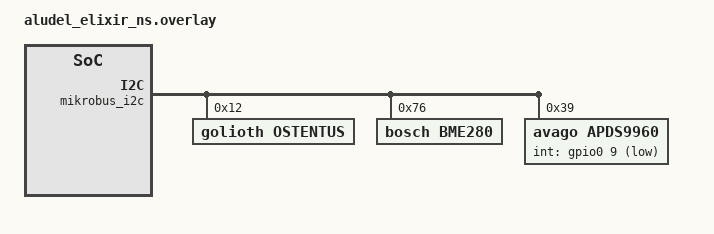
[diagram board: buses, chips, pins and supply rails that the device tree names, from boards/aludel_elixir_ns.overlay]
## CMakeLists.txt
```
# Copyright (c) 2022-2023 Golioth, Inc.
# SPDX-License-Identifier: Apache-2.0

cmake_minimum_required(VERSION 3.20.0)

find_package(Zephyr REQUIRED HINTS $ENV{ZEPHYR_BASE})

project(greenhouse)

target_sources(app PRIVATE src/main.c)
target_sources(app PRIVATE src/app_rpc.c)
target_sources(app PRIVATE src/app_settings.c)
target_sources(app PRIVATE src/app_state.c)
target_sources(app PRIVATE src/app_sensors.c)
```

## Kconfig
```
# Copyright (c) 2022-2024 Golioth, Inc.
# SPDX-License-Identifier: Apache-2.0

mainmenu "Golioth application options"

if DNS_RESOLVER

config DNS_SERVER_IP_ADDRESSES
	default y

config DNS_SERVER1
	default "1.1.1.1"

endif # DNS_RESOLVER

source "Kconfig.zephyr"
```

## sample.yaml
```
# Copyright (c) 2022-2023 Golioth, Inc.
# SPDX-License-Identifier: Apache-2.0

sample:
  description: Golioth Greenhouse Reference Design
  name: greenhouse
common:
  harness: net
  platform_allow: >
    nrf9160dk_nrf9160_ns
  tags: golioth
```

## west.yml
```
# Copyright (c) 2022-2024 Golioth, Inc.
# SPDX-License-Identifier: Apache-2.0

manifest:
  version: 0.8

  projects:
    - name: golioth
      path: modules/lib/golioth
      revision: v0.8.0
      url: https://github.com/golioth/golioth-zephyr-sdk
      west-commands: scripts/west-commands.yml
      import:
        file: west-ncs.yml
        path-prefix: deps
        name-allowlist:
          - nrf
          - zephyr
          - cmsis
          - hal_nordic
          - mbedtls
          - mbedtls-nrf
          - mcuboot
          - net-tools
          - nrfxlib
          - qcbor
          - segger
          - tfm-mcuboot
          - tinycrypt
          - trusted-firmware-m
          - zcbor

    - name: golioth-zephyr-boards
      path: deps/modules/lib/golioth-boards
      revision: v1.0.1
      url: https://github.com/golioth/golioth-zephyr-boards

    - name: zephyr-network-info
      path: deps/modules/lib/network-info
      revision: v1.0.1
      url: https://github.com/golioth/zephyr-network-info

  self:
    path: app
```

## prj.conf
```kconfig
# Copyright (c) 2022-2024 Golioth, Inc.
# SPDX-License-Identifier: Apache-2.0

# Enable Golioth Firmware SDK
CONFIG_GOLIOTH_FIRMWARE_SDK=y

# Golioth services used in this app
CONFIG_GOLIOTH_FW_UPDATE=y
CONFIG_GOLIOTH_LIGHTDB_STATE=y
CONFIG_LOG_BACKEND_GOLIOTH=y
CONFIG_GOLIOTH_RPC=y
CONFIG_GOLIOTH_SETTINGS=y
CONFIG_GOLIOTH_STREAM=y

# Enable common sample library
CONFIG_GOLIOTH_SAMPLE_COMMON=y

# Configure Golioth SDK dependencies
CONFIG_ZVFS_EVENTFD_MAX=14
CONFIG_ZVFS_OPEN_MAX=23
CONFIG_LOG_PROCESS_THREAD_STACK_SIZE=1536
CONFIG_MBEDTLS_ENABLE_HEAP=y
CONFIG_MBEDTLS_HEAP_SIZE=10240
CONFIG_NETWORKING=y
CONFIG_NET_IPV4=y
CONFIG_COAP_EXTENDED_OPTIONS_LEN=y
CONFIG_COAP_EXTENDED_OPTIONS_LEN_VALUE=39

# Application
CONFIG_MAIN_STACK_SIZE=2048
CONFIG_NET_LOG=y
CONFIG_NET_SHELL=y
CONFIG_REBOOT=y

# Flash memory (etc.) for firmware upgrade
CONFIG_FLASH=y
CONFIG_FLASH_MAP=y
CONFIG_NVS=y
CONFIG_STREAM_FLASH=y
CONFIG_IMG_MANAGER=y
CONFIG_IMG_ERASE_PROGRESSIVELY=y
CONFIG_REBOOT=y

# The rest of the runtime credentials config
CONFIG_SETTINGS=y
CONFIG_SETTINGS_RUNTIME=y
CONFIG_GOLIOTH_SAMPLE_SETTINGS_AUTOLOAD=y
CONFIG_GOLIOTH_SAMPLE_SETTINGS_SHELL=y

# Misc.
CONFIG_JSON_LIBRARY=y

# Longer response length needed for network info
CONFIG_GOLIOTH_RPC_MAX_RESPONSE_LEN=512
CONFIG_I2C=y
CONFIG_SENSOR=y
```

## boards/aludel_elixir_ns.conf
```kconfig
# Copyright (c) 2024 Golioth, Inc.
# SPDX-License-Identifier: Apache-2.0

# Battery Support
CONFIG_ALUDEL_BATTERY_MONITOR=y

# Turn on regulator to power click headers
CONFIG_REGULATOR=y

# Use Sensor without a GPIO INT line
CONFIG_APDS9960_FETCH_MODE_POLL=y

# Use a unique package name to use with Packages/Cohorts/Deployments
CONFIG_GOLIOTH_FW_UPDATE_PACKAGE_NAME="aludel_elixir"
```

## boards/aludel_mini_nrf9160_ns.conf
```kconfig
# Copyright (c) 2022-2024 Golioth, Inc.
# SPDX-License-Identifier: Apache-2.0

# General config
CONFIG_HEAP_MEM_POOL_SIZE=4096
CONFIG_NEWLIB_LIBC=y

# Networking
CONFIG_NET_SOCKETS_OFFLOAD=y
CONFIG_NET_IPV6=y
CONFIG_NET_IPV6_NBR_CACHE=n
CONFIG_NET_IPV6_MLD=n

# Increase native TLS socket implementation, so that it is chosen instead of
# offloaded nRF91 sockets
CONFIG_NET_SOCKETS_TLS_PRIORITY=35

# Modem library
CONFIG_NRF_MODEM_LIB=y

# LTE connectivity with network connection manager
CONFIG_NRF_MODEM_LIB_NET_IF=y
CONFIG_NRF_MODEM_LIB_NET_IF_AUTO_START=y
CONFIG_NRF_MODEM_LIB_NET_IF_AUTO_CONNECT=n
CONFIG_NET_CONNECTION_MANAGER=y
CONFIG_NET_CONNECTION_MANAGER_MONITOR_STACK_SIZE=1024

# Add Logs for LTE Link Handler
CONFIG_GOLIOTH_SAMPLE_NRF91_LTE_MONITOR=y

# Disable options y-selected by NCS for no good reason
CONFIG_MBEDTLS_KEY_EXCHANGE_DHE_PSK_ENABLED=n
CONFIG_MBEDTLS_KEY_EXCHANGE_DHE_RSA_ENABLED=n

# Battery Support
CONFIG_ALUDEL_BATTERY_MONITOR=y

# Add Network Info Support
CONFIG_MODEM_INFO=y

# Generate MCUboot compatible images
CONFIG_BOOTLOADER_MCUBOOT=y
```

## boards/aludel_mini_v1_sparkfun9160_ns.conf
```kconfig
# Copyright (c) 2022-2024 Golioth, Inc.
# SPDX-License-Identifier: Apache-2.0

# General config
CONFIG_HEAP_MEM_POOL_SIZE=4096
CONFIG_NEWLIB_LIBC=y

# Networking
CONFIG_NET_SOCKETS_OFFLOAD=y
CONFIG_NET_IPV6=y
CONFIG_NET_IPV6_NBR_CACHE=n
CONFIG_NET_IPV6_MLD=n

# Increase native TLS socket implementation, so that it is chosen instead of
# offloaded nRF91 sockets
CONFIG_NET_SOCKETS_TLS_PRIORITY=35

# Modem library
CONFIG_NRF_MODEM_LIB=y
CONFIG_NRF_MODEM_LIB_ON_FAULT_APPLICATION_SPECIFIC=y

# LTE connectivity with network connection manager
CONFIG_LTE_CONNECTIVITY=y
CONFIG_LTE_CONNECTIVITY_AUTO_CONNECT=n
CONFIG_NET_CONNECTION_MANAGER=y
CONFIG_NET_CONNECTION_MANAGER_MONITOR_STACK_SIZE=1024

# Add Logs for LTE Link Handler
CONFIG_GOLIOTH_SAMPLE_NRF91_LTE_MONITOR=y

# Disable options y-selected by NCS for no good reason
CONFIG_MBEDTLS_KEY_EXCHANGE_DHE_PSK_ENABLED=n
CONFIG_MBEDTLS_KEY_EXCHANGE_DHE_RSA_ENABLED=n

# Battery Support
CONFIG_ALUDEL_BATTERY_MONITOR=y

# Add Network Info Support
CONFIG_MODEM_INFO=y

# Generate MCUboot compatible images
CONFIG_BOOTLOADER_MCUBOOT=y

# Use Golioth Ostentus Faceplate
CONFIG_LIB_OSTENTUS=y
```

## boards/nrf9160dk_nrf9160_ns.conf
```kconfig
# Use Sensor without a GPIO INT line
CONFIG_APDS9960_FETCH_MODE_POLL=y

# Use a unique package name to use with Packages/Cohorts/Deployments
CONFIG_GOLIOTH_FW_UPDATE_PACKAGE_NAME="nrf9160dk"
```

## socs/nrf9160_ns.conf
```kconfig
# General config
CONFIG_HEAP_MEM_POOL_SIZE=4096
CONFIG_NEWLIB_LIBC=y

# Networking
CONFIG_NET_SOCKETS_OFFLOAD=y
CONFIG_NET_IPV6=y
CONFIG_NET_IPV6_NBR_CACHE=n
CONFIG_NET_IPV6_MLD=n

# Increase native TLS socket implementation, so that it is chosen instead of
# offloaded nRF91 sockets
CONFIG_NET_SOCKETS_TLS_PRIORITY=35

# Modem library
CONFIG_NRF_MODEM_LIB=y

# LTE connectivity with network connection manager
CONFIG_NRF_MODEM_LIB_NET_IF=y
CONFIG_NRF_MODEM_LIB_NET_IF_AUTO_START=y
CONFIG_NRF_MODEM_LIB_NET_IF_AUTO_CONNECT=n
CONFIG_NET_CONNECTION_MANAGER=y
CONFIG_NET_CONNECTION_MANAGER_MONITOR_STACK_SIZE=1024

# Increased sysworkq size, due to LTE connectivity
CONFIG_SYSTEM_WORKQUEUE_STACK_SIZE=2048

# Disable options y-selected by NCS for no good reason
CONFIG_MBEDTLS_KEY_EXCHANGE_DHE_PSK_ENABLED=n
CONFIG_MBEDTLS_KEY_EXCHANGE_DHE_RSA_ENABLED=n
CONFIG_MBEDTLS_PK_PARSE_EC_EXTENDED=n

# MbedTLS configuration to support p-384 curve. These options
# enable using the MbedTLS built-in support for operations not
# supported by the default nRF Oberon crypto backend
CONFIG_NORDIC_SECURITY_BACKEND=n
CONFIG_MBEDTLS_LEGACY_CRYPTO_C=y

# Configure Golioth SDK dependencies (for NCS)
CONFIG_MBEDTLS_SSL_IN_CONTENT_LEN=2048
CONFIG_MBEDTLS_SSL_OUT_CONTENT_LEN=2048

# Generate MCUboot compatible images
CONFIG_BOOTLOADER_MCUBOOT=y

# Add Network Info Support
CONFIG_NETWORK_INFO=y
CONFIG_MODEM_INFO=y

# Allow app to use i2c1 (after disabling uart1)
CONFIG_TFM_SECURE_UART_SHARE_INSTANCE=y
```

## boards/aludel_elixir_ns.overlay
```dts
/ {
	relay_pins {
		compatible = "gpio-relay";
		relay_0: relay_0 {
			gpios = <&gpio0 17 (GPIO_ACTIVE_HIGH)>;
		};
		relay_1: relay_1 {
			gpios = <&gpio0 0 (GPIO_ACTIVE_HIGH)>;
		};
	};
};

&mikrobus_i2c {
	/* Needed for I2C writes used by libostentus */
	zephyr,concat-buf-size = <48>;

	ostentus@12 {
		status = "okay";
		compatible = "golioth,ostentus";
		reg = <0x12>;
	};

	bme280: bme280@76 {
		status = "okay";
		compatible = "bosch,bme280";
		reg = <0x76>;
	};

	apds9960: apds9960@39 {
		status = "okay";
		compatible = "avago,apds9960";
		reg = <0x39>;
		int-gpios = <&gpio0 9 (GPIO_ACTIVE_LOW | GPIO_PULL_UP)>; /* CLICK_RST1 */
	};
};

&pwm0 {
	status = "disabled";
};
```

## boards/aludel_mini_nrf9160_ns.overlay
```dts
/*
 * Copyright (c) 2022-2024 Golioth, Inc.
 * SPDX-License-Identifier: Apache-2.0
 */

/ {
	relay_pins {
		compatible = "gpio-relay";
		relay_0: relay_0 {
			gpios = <&gpio0 17 (GPIO_ACTIVE_HIGH)>;
		};
		relay_1: relay_1 {
			gpios = <&gpio0 0 (GPIO_ACTIVE_HIGH)>;
		};
	};
};

&mikrobus_i2c {
	/* Needed for I2C writes used by libostentus */
	zephyr,concat-buf-size = <48>;

	ostentus@12 {
		status = "okay";
		compatible = "golioth,ostentus";
		reg = <0x12>;
	};

	bme280: bme280@76 {
		status = "okay";
		compatible = "bosch,bme280";
		reg = <0x76>;
	};

	apds9960: apds9960@39 {
		status = "okay";
		compatible = "avago,apds9960";
		reg = <0x39>;
		int-gpios = <&gpio0 4 (GPIO_ACTIVE_LOW)>;
	};
};

&pwm0 {
	status = "disabled";
};
```

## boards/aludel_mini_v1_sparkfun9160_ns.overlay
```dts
/*
 * Copyright (c) 2022-2024 Golioth, Inc.
 * SPDX-License-Identifier: Apache-2.0
 */

/ {
	relay_pins {
		compatible = "gpio-relay";
		relay_0: relay_0 {
			gpios = <&gpio0 17 (GPIO_ACTIVE_HIGH)>;
		};
		relay_1: relay_1 {
			gpios = <&gpio0 0 (GPIO_ACTIVE_HIGH)>;
		};
	};
};

&i2c1 {
	bme280: bme280@76 {
		status = "okay";
		compatible = "bosch,bme280";
		reg = <0x76>;
	};

	apds9960: apds9960@39 {
		status = "okay";
		compatible = "avago,apds9960";
		reg = <0x39>;
		int-gpios = <&gpio0 4 (GPIO_ACTIVE_LOW)>;
	};
};

&pwm0 {
	status = "disabled";
};
```

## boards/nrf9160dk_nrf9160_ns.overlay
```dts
/*
 * Copyright (c) 2023 Golioth, Inc.
 *
 * SPDX-License-Identifier: Apache-2.0
 */

/ {
	aliases {
		golioth-led = &led2;
	};

	relay_pins {
		compatible = "gpio-relay";
		relay_0: relay_0 {
			gpios = <&gpio0 5 (GPIO_ACTIVE_HIGH)>;
		};
		relay_1: relay_1 {
			gpios = <&gpio0 9 (GPIO_ACTIVE_HIGH)>;
		};
	};
};

&i2c1 {
	status = "okay";
	pinctrl-0 = < &i2c1_default >;
	pinctrl-1 = < &i2c1_sleep >;
	pinctrl-names = "default", "sleep";

	bme280: bme280@76 {
		status = "okay";
		compatible = "bosch,bme280";
		reg = <0x76>;
	};
};

&i2c2 {
	apds9960: apds9960@39 {
		status = "okay";
		compatible = "avago,apds9960";
		reg = <0x39>;
		int-gpios = <&gpio0 23 (GPIO_ACTIVE_LOW | GPIO_PULL_UP)>;
	};
};

&uart1 {
	status = "disabled";
};

&pinctrl {
	i2c1_default: i2c1_default {
		group1 {
			psels = <NRF_PSEL(TWIM_SDA, 0, 18)>,
				<NRF_PSEL(TWIM_SCL, 0, 19)>;
		};
	};

	i2c1_sleep: i2c1_sleep {
		group1 {
			psels = <NRF_PSEL(TWIM_SDA, 0, 18)>,
				<NRF_PSEL(TWIM_SCL, 0, 19)>;
			low-power-enable;
		};
	};

	i2c2_default: i2c2_default {
		group1 {
			psels = <NRF_PSEL(TWIM_SDA, 0, 22)>,
				<NRF_PSEL(TWIM_SCL, 0, 21)>;
		};
	};

	i2c2_sleep: i2c2_sleep {
		group1 {
			psels = <NRF_PSEL(TWIM_SDA, 0, 22)>,
				<NRF_PSEL(TWIM_SCL, 0, 21)>;
			low-power-enable;
		};
	};
};
```

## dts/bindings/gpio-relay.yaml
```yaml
# Copyright (c) 2022, Golioth
# SPDX-License-Identifier: Apache-2.0

description: |
  Simple binding for GPIO control of a Relay CLICK board

compatible: "gpio-relay"

child-binding:
    description: GPIO Relay child node
    properties:
       gpios:
          type: phandle-array
          required: true
```

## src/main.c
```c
/*
 * Copyright (c) 2022-2024 Golioth, Inc.
 *
 * SPDX-License-Identifier: Apache-2.0
 */

#include "zephyr/kernel.h"
#include <zephyr/logging/log.h>
LOG_MODULE_REGISTER(golioth_greenhouse, LOG_LEVEL_DBG);

#include <app_version.h>
#include "app_rpc.h"
#include "app_settings.h"
#include "app_state.h"
#include "app_sensors.h"
#include <golioth/client.h>
#include <golioth/fw_update.h>
#include <samples/common/net_connect.h>
#include <samples/common/sample_credentials.h>
#include <zephyr/drivers/gpio.h>
#include <zephyr/kernel.h>

#ifdef CONFIG_SOC_SERIES_NRF91X
#include <modem/lte_lc.h>
#endif
#ifdef CONFIG_LIB_OSTENTUS
#include <libostentus.h>
#include <libostentus_regmap.h>
static const struct device *o_dev = DEVICE_DT_GET_ANY(golioth_ostentus);
#endif
#ifdef CONFIG_ALUDEL_BATTERY_MONITOR
#include <battery_monitor.h>
#endif

#ifdef CONFIG_MODEM_INFO
#include <modem/modem_info.h>
#endif

/* Current firmware version; update in VERSION */
static const char *_current_version =
	STRINGIFY(APP_VERSION_MAJOR) "." STRINGIFY(APP_VERSION_MINOR) "." STRINGIFY(APP_PATCHLEVEL);

static struct golioth_client *client;
K_SEM_DEFINE(connected, 0, 1);

static k_tid_t _system_thread = 0;

#if DT_NODE_EXISTS(DT_ALIAS(golioth_led))
static const struct gpio_dt_spec golioth_led = GPIO_DT_SPEC_GET(DT_ALIAS(golioth_led), gpios);
#endif /* DT_NODE_EXISTS(DT_ALIAS(golioth_led)) */
static const struct gpio_dt_spec user_btn = GPIO_DT_SPEC_GET(DT_ALIAS(sw1), gpios);
static struct gpio_callback button_cb_data;

/* forward declarations */
void golioth_connection_led_set(uint8_t state);

void wake_system_thread(void)
{
	k_wakeup(_system_thread);
}

static void on_client_event(struct golioth_client *client, enum golioth_client_event event,
			    void *arg)
{
	bool is_connected = (event == GOLIOTH_CLIENT_EVENT_CONNECTED);

	if (is_connected) {
		k_sem_give(&connected);
		golioth_connection_led_set(1);
	}
	LOG_INF("Golioth client %s", is_connected ? "connected" : "disconnected");
}

static void start_golioth_client(void)
{
	/* Get the client configuration from auto-loaded settings */
	const struct golioth_client_config *client_config = golioth_sample_credentials_get();

	/* Create and start a Golioth Client */
	client = golioth_client_create(client_config);

	/* Register Golioth on_connect callback */
	golioth_client_register_event_callback(client, on_client_event, NULL);

	/* Initialize DFU components */
	golioth_fw_update_init(client, _current_version);

	/*** Call Golioth APIs for other services in dedicated app files ***/

	/* Observe State service data */
	app_state_observe(client);

	/* Set Golioth Client for streaming sensor data */
	app_sensors_set_client(client);

	/* Register Settings service */
	app_settings_register(client);

	/* Register RPC service */
	app_rpc_register(client);
}

#ifdef CONFIG_SOC_SERIES_NRF91X

static void lte_handler(const struct lte_lc_evt *const evt)
{
	if (evt->type == LTE_LC_EVT_NW_REG_STATUS) {

		if ((evt->nw_reg_status == LTE_LC_NW_REG_REGISTERED_HOME) ||
		    (evt->nw_reg_status == LTE_LC_NW_REG_REGISTERED_ROAMING)) {

			/* Change the state of the Internet LED on Ostentus */
			IF_ENABLED(CONFIG_LIB_OSTENTUS, (ostentus_led_internet_set(o_dev, 1);));

			if (!client) {
				/* Create and start a Golioth Client */
				start_golioth_client();
			}
		}
	}
}

#endif /* CONFIG_SOC_SERIES_NRF91X */

#ifdef CONFIG_MODEM_INFO
static void log_modem_firmware_version(void)
{
	char sbuf[128];

	/* Initialize modem info */
	int err = modem_info_init();

	if (err) {
		LOG_ERR("Failed to initialize modem info: %d", err);
	}

	/* Log modem firmware version */
	modem_info_string_get(MODEM_INFO_FW_VERSION, sbuf, sizeof(sbuf));
	LOG_INF("Modem firmware version: %s", sbuf);
}
#endif

void button_pressed(const struct device *dev, struct gpio_callback *cb, uint32_t pins)
{
	LOG_DBG("Button pressed at %d", k_cycle_get_32());
	/* This function is an Interrupt Service Routine. Do not call functions that
	 * use other threads, or perform long-running operations here
	 */
	k_wakeup(_system_thread);
}

/* Set (unset) LED indicators for active Golioth connection */
void golioth_connection_led_set(uint8_t state)
{
	uint8_t pin_state = state ? 1 : 0;
	ARG_UNUSED(pin_state); /* silence warning if no LED/Ostentus present */

	/* Turn on Golioth logo LED once connected */
	IF_ENABLED(DT_NODE_EXISTS(DT_ALIAS(golioth_led)),
		(gpio_pin_set_dt(&golioth_led, pin_state);));

	/* Change the state of the Golioth LED on Ostentus */
	IF_ENABLED(CONFIG_LIB_OSTENTUS, (ostentus_led_golioth_set(o_dev, pin_state);));
}

int main(void)
{
	int err;

	LOG_DBG("Start Reference Design Template sample");

	LOG_INF("Firmware version: %s", _current_version);
	IF_ENABLED(CONFIG_MODEM_INFO, (log_modem_firmware_version();));

	IF_ENABLED(CONFIG_LIB_OSTENTUS, (
		/* Reset Ostentus and pause for reboot */
		ostentus_reset(o_dev);
		k_msleep(300);

		/* Read firmware version from faceplate */
		char *o_version = (char *)calloc(32, sizeof(char));

		ostentus_version_get(o_dev, o_version, 32);
		LOG_INF("Ostentus reports firmware version: %s", o_version);
		free(o_version);

		/* Update Ostentus LEDS using bitmask (Power On and Battery) */
		ostentus_led_bitmask(o_dev, LED_POW | LED_BAT);

		/* Show Golioth Logo on Ostentus ePaper screen */
		ostentus_show_splash(o_dev);
	));

	/* Get system thread id so loop delay change event can wake main */
	_system_thread = k_current_get();

#if DT_NODE_EXISTS(DT_ALIAS(golioth_led))
	/* Initialize Golioth logo LED */
	err = gpio_pin_configure_dt(&golioth_led, GPIO_OUTPUT_INACTIVE);
	if (err) {
		LOG_ERR("Unable to configure LED for Golioth Logo");
	}
#endif /* #if DT_NODE_EXISTS(DT_ALIAS(golioth_led)) */

#ifdef CONFIG_SOC_SERIES_NRF91X
	/* Start LTE asynchronously if the nRF9160 is used.
	 * Golioth Client will start automatically when LTE connects
	 */

	LOG_INF("Connecting to LTE, this may take some time...");
	lte_lc_connect_async(lte_handler);

#else
	/* If nRF9160 is not used, start the Golioth Client and block until connected */

	/* Run WiFi/DHCP if necessary */
	if (IS_ENABLED(CONFIG_GOLIOTH_SAMPLE_COMMON)) {
		net_connect();
	}

	/* Start Golioth client */
	start_golioth_client();

	/* Block until connected to Golioth */
	k_sem_take(&connected, K_FOREVER);
#endif /* CONFIG_SOC_SERIES_NRF91X */

	/* Set up user button */
	err = gpio_pin_configure_dt(&user_btn, GPIO_INPUT);
	if (err) {
		LOG_ERR("Error %d: failed to configure %s pin %d", err, user_btn.port->name,
			user_btn.pin);
		return err;
	}

	err = gpio_pin_interrupt_configure_dt(&user_btn, GPIO_INT_EDGE_TO_ACTIVE);
	if (err) {
		LOG_ERR("Error %d: failed to configure interrupt on %s pin %d", err,
			user_btn.port->name, user_btn.pin);
		return err;
	}

	gpio_init_callback(&button_cb_data, button_pressed, BIT(user_btn.pin));
	gpio_add_callback(user_btn.port, &button_cb_data);

	IF_ENABLED(CONFIG_LIB_OSTENTUS,(
		/* Set up a slideshow on Ostentus
		 *  - add up to 256 slides
		 *  - use the enum in app_sensors.h to add new keys
		 *  - values are updated using these keys (see app_sensors.c)
		 */
		ostentus_slide_add(o_dev, SLIDE_TEMP, LABEL_TEMP, strlen(LABEL_TEMP));
		ostentus_slide_add(o_dev, SLIDE_INTENSITY, LABEL_INTENSITY, strlen(LABEL_INTENSITY));
		ostentus_slide_add(o_dev, SLIDE_VENT, LABEL_VENT, strlen(LABEL_VENT));
		ostentus_slide_add(o_dev, SLIDE_GROWLIGHT, LABEL_GROWLIGHT, strlen(LABEL_GROWLIGHT));
		IF_ENABLED(CONFIG_ALUDEL_BATTERY_MONITOR, (
			ostentus_slide_add(o_dev,
					   BATTERY_V,
					   LABEL_BATTERY,
					   strlen(LABEL_BATTERY));
			ostentus_slide_add(o_dev,
					   BATTERY_PCT,
					   LABEL_BATTERY,
					   strlen(LABEL_BATTERY));
		));
		ostentus_slide_add(o_dev, FIRMWARE, LABEL_FIRMWARE, strlen(LABEL_FIRMWARE));

		/* Set the title of the Ostentus summary slide (optional) */
		ostentus_summary_title(o_dev, SUMMARY_TITLE, strlen(SUMMARY_TITLE));

		/* Update the Firmware slide with the firmware version */
		ostentus_slide_set(o_dev, FIRMWARE, (char *)_current_version,
			  strlen(_current_version));

		/* Start Ostentus slideshow with 30 second delay between slides */
		ostentus_slideshow(o_dev, 30000);
	));

	/* Initialize relays */
	app_sensors_init();

#ifdef CONFIG_SOC_NRF9160
	/* Start LTE asynchronously if the nRF9160 is used.
	 * Golioth Client will start automatically when LTE connects
	 */

	LOG_INF("Connecting to LTE, this may take some time...");
	lte_lc_connect_async(lte_handler);

#else
	/* If nRF9160 is not used, start the Golioth Client and block until connected */

	/* Run WiFi/DHCP if necessary */
	if (IS_ENABLED(CONFIG_GOLIOTH_SAMPLE_COMMON)) {
		net_connect();
	}

	/* Start Golioth client */
	start_golioth_client();

	/* Block until connected to Golioth */
	k_sem_take(&connected, K_FOREVER);
#endif /* CONFIG_SOC_NRF9160 */

	while (true) {
		app_sensors_read_and_stream();

		k_sleep(K_SECONDS(get_loop_delay_s()));
	}
}
```

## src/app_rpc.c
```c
/*
 * Copyright (c) 2022-2024 Golioth, Inc.
 *
 * SPDX-License-Identifier: Apache-2.0
 */

#include <zephyr/logging/log.h>
LOG_MODULE_REGISTER(app_rpc, LOG_LEVEL_DBG);

#include <golioth/client.h>
#include <golioth/rpc.h>
#include <zephyr/logging/log_ctrl.h>
#include <zephyr/sys/reboot.h>

#ifdef CONFIG_NETWORK_INFO
#include <network_info.h>
#endif

#include "app_rpc.h"

static void reboot_work_handler(struct k_work *work)
{
	for (int8_t i = 5; i >= 0; i--) {
		if (i) {
			LOG_INF("Rebooting in %d seconds...", i);
		}
		k_sleep(K_SECONDS(1));
	}

	/* Sync logs before reboot */
	LOG_PANIC();

	sys_reboot(SYS_REBOOT_COLD);
}
K_WORK_DEFINE(reboot_work, reboot_work_handler);

static enum golioth_rpc_status on_get_network_info(zcbor_state_t *request_params_array,
						   zcbor_state_t *response_detail_map,
						   void *callback_arg)
{
	COND_CODE_1(CONFIG_NETWORK_INFO,
		    (network_info_add_to_map(response_detail_map); return GOLIOTH_RPC_OK;),
		    (return GOLIOTH_RPC_UNIMPLEMENTED););
}

static enum golioth_rpc_status on_set_log_level(zcbor_state_t *request_params_array,
						zcbor_state_t *response_detail_map,
						void *callback_arg)
{
	double param_0;
	uint8_t log_level;
	bool ok;

	LOG_WRN("on_set_log_level");

	ok = zcbor_float_decode(request_params_array, &param_0);
	if (!ok) {
		LOG_ERR("Failed to decode array item");
		return GOLIOTH_RPC_INVALID_ARGUMENT;
	}

	log_level = (uint8_t)param_0;

	if ((log_level < 0) || (log_level > LOG_LEVEL_DBG)) {

		LOG_ERR("Requested log level is out of bounds: %d", log_level);
		return GOLIOTH_RPC_INVALID_ARGUMENT;
	}

	int source_id = 0;
	char *source_name;

	while (1) {
		source_name = (char *)log_source_name_get(0, source_id);
		if (source_name == NULL) {
			break;
		}

		log_filter_set(NULL, 0, source_id, log_level);
		++source_id;
	}

	LOG_WRN("Log levels for %d modules set to: %d", source_id, log_level);

	ok = zcbor_tstr_put_lit(response_detail_map, "log_modules") &&
	     zcbor_float64_put(response_detail_map, (double)source_id);

	return GOLIOTH_RPC_OK;
}

static enum golioth_rpc_status on_reboot(zcbor_state_t *request_params_array,
					 zcbor_state_t *response_detail_map, void *callback_arg)
{
	/* Use work queue so this RPC can return confirmation to Golioth */
	k_work_submit(&reboot_work);

	return GOLIOTH_RPC_OK;
}

static void rpc_log_if_register_failure(int err)
{
	if (err) {
		LOG_ERR("Failed to register RPC: %d", err);
	}
}

void app_rpc_register(struct golioth_client *client)
{
	struct golioth_rpc *rpc = golioth_rpc_init(client);

	int err;

	err = golioth_rpc_register(rpc, "get_network_info", on_get_network_info, NULL);
	rpc_log_if_register_failure(err);

	err = golioth_rpc_register(rpc, "reboot", on_reboot, NULL);
	rpc_log_if_register_failure(err);

	err = golioth_rpc_register(rpc, "set_log_level", on_set_log_level, NULL);
	rpc_log_if_register_failure(err);
}
```

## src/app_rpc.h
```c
/*
 * Copyright (c) 2022-2024 Golioth, Inc.
 *
 * SPDX-License-Identifier: Apache-2.0
 */

/**
 * Handle remote procedure calls received from Golioth, returning a status code
 * indicating the success or failure of the call.
 *
 * This demonstration implements the following RPCs:
 * - `get_network_info`: Query and return network information.
 * - `reboot`: reboot the device (no arguments)
 * - `set_log_level`: adjust the logging level for all registered modules (valid
 *   argument values: 0..4)
 *
 * https://docs.golioth.io/firmware/zephyr-device-sdk/remote-procedure-call
 */

#ifndef __APP_RPC_H__
#define __APP_RPC_H__

#include <golioth/client.h>

void app_rpc_register(struct golioth_client *client);

#endif /* __APP_RPC_H__ */
```

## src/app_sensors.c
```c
/*
 * Copyright (c) 2022-2024 Golioth, Inc.
 *
 * SPDX-License-Identifier: Apache-2.0
 */

#include <zephyr/logging/log.h>
LOG_MODULE_REGISTER(app_sensors, LOG_LEVEL_DBG);

#include <golioth/client.h>
#include <golioth/stream.h>
#include <zcbor_encode.h>
#include <zephyr/drivers/gpio.h>
#include <zephyr/drivers/sensor.h>
#include <zephyr/kernel.h>

#include "app_sensors.h"
#include "app_settings.h"
#include "app_state.h"

#ifdef CONFIG_LIB_OSTENTUS
#include <libostentus.h>
static const struct device *o_dev = DEVICE_DT_GET_ANY(golioth_ostentus);
#endif
#ifdef CONFIG_ALUDEL_BATTERY_MONITOR
#include <battery_monitor.h>
#endif


static struct golioth_client *client;

const struct device *light_sensor = DEVICE_DT_GET(DT_NODELABEL(apds9960));
const struct device *weather_sensor = DEVICE_DT_GET(DT_NODELABEL(bme280));

const struct gpio_dt_spec relay_light = GPIO_DT_SPEC_GET(DT_NODELABEL(relay_0), gpios);
const struct gpio_dt_spec relay_vent = GPIO_DT_SPEC_GET(DT_NODELABEL(relay_1), gpios);

#define SENSOR_JSON_FMT	"{\"light\":{\"int\":%d,\"r\":%d,\"g\":%d,\"b\":%d},\"weather\":{\"temp\":%d.%d,\"pressure\":%d.%d,\"humidity\":%d.%d}}"

#define RELAY_ON  1
#define RELAY_OFF 0

uint8_t _light_cur_state = 0;
uint8_t _vent_cur_state = 0;

static void set_light_on_off(uint8_t state)
{
	if (state > 1) {
		LOG_ERR("Light state out of range [0..1]: %d", state);
		return;
	}

	_light_cur_state = state;
	gpio_pin_set_dt(&relay_light, _light_cur_state);

	IF_ENABLED(CONFIG_LIB_OSTENTUS, (
		char *relay_state = state ? RELAY_STR_ON : RELAY_STR_OFF;
		ostentus_slide_set(o_dev, SLIDE_GROWLIGHT, relay_state, strlen(relay_state));
	));

	app_state_update_actual();
}

static void set_vent_on_off(uint8_t state)
{
	if (state > 1) {
		LOG_ERR("Vent state out of range [0..1]: %d", state);
		return;
	}

	_vent_cur_state = state;
	gpio_pin_set_dt(&relay_vent, _vent_cur_state);

	IF_ENABLED(CONFIG_LIB_OSTENTUS, (
		char *relay_state = state ? RELAY_STR_ON : RELAY_STR_OFF;
		ostentus_slide_set(o_dev, SLIDE_VENT, relay_state, strlen(relay_state));
	));

	app_state_update_actual();
}


/* Callback for LightDB Stream */
static void async_error_handler(struct golioth_client *client, enum golioth_status status,
				const struct golioth_coap_rsp_code *coap_rsp_code, const char *path,
				void *arg)
{
	if (status != GOLIOTH_OK) {
		LOG_ERR("Async task failed: %d", status);
		return;
	}
}

static bool temp_threshold_triggered(struct sensor_value *tem_sensor,
				     struct sensor_value *thresh)
{
	bool ret = false;

	if ((tem_sensor->val1 > thresh->val1) || ((tem_sensor->val1 == thresh->val1) && (tem_sensor->val2 > thresh->val2))) {
		ret = true;
	}

	return ret;
}

/* This will be called by the main() loop */
/* Do all of your work here! */
void app_sensors_read_and_stream(void)
{

	struct sensor_value intensity, red, green, blue, tem, pre, hum;
	int err = 0;
	char json_buf[256];

	/* Golioth custom hardware for demos */
	IF_ENABLED(CONFIG_ALUDEL_BATTERY_MONITOR, (
		read_and_report_battery(client);
		IF_ENABLED(CONFIG_LIB_OSTENTUS, (
			ostentus_slide_set(o_dev,
					   BATTERY_V,
					   get_batt_v_str(),
					   strlen(get_batt_v_str()));
			ostentus_slide_set(o_dev,
					   BATTERY_PCT,
					   get_batt_pct_str(),
					   strlen(get_batt_pct_str()));
		));
	));

	/* Read all sensors */
	err = sensor_sample_fetch(light_sensor);
	if (err) {
		LOG_ERR("Light sensor fetch failed: %d", err);
	}

	sensor_channel_get(light_sensor, SENSOR_CHAN_LIGHT, &intensity);
	sensor_channel_get(light_sensor, SENSOR_CHAN_RED, &red);
	sensor_channel_get(light_sensor, SENSOR_CHAN_GREEN, &green);
	sensor_channel_get(light_sensor, SENSOR_CHAN_BLUE, &blue);
	LOG_INF("Light: %d; r=%d, g=%d, b=%d",
		intensity.val1, red.val1, green.val1, blue.val1);

	err = sensor_sample_fetch(weather_sensor);
	if (err) {
		LOG_ERR("Weather sensor fetch failed: %d", err);
	}

	sensor_channel_get(weather_sensor, SENSOR_CHAN_AMBIENT_TEMP, &tem);
	sensor_channel_get(weather_sensor, SENSOR_CHAN_PRESS, &pre);
	sensor_channel_get(weather_sensor, SENSOR_CHAN_HUMIDITY, &hum);
	LOG_INF("Weather: tem=%d.%d, pre=%d.%d, hum=%d.%d",
		tem.val1, abs(tem.val2), pre.val1, pre.val2, hum.val1, hum.val2);

	/* Send sensor data to Golioth */
	snprintk(json_buf, sizeof(json_buf), SENSOR_JSON_FMT, intensity.val1,
		 red.val1, green.val1, blue.val1, tem.val1, abs(tem.val2),
		 pre.val1, pre.val2, hum.val1, hum.val2);

	/* Only stream sensor data if connected */
	if (golioth_client_is_connected(client)) {
		err = golioth_stream_set_async(client,
					"sensor",
					GOLIOTH_CONTENT_TYPE_JSON,
					json_buf,
					strlen(json_buf),
					async_error_handler,
					NULL);
		if (err) {
			LOG_ERR("Failed to send sensor data to Golioth: %d", err);
		}
	}

	/* Golioth custom hardware for demos */
	IF_ENABLED(CONFIG_LIB_OSTENTUS, (
		/* Update slide values on Ostentus
		 *  -values should be sent as strings
		 *  -use the enum from app_sensors.h for slide key values
		 */
		snprintk(json_buf, sizeof(json_buf), "%d.%d °C", tem.val1, abs(tem.val2) / 10000);
		ostentus_slide_set(o_dev, SLIDE_TEMP, json_buf, strlen(json_buf));
		snprintk(json_buf, sizeof(json_buf), "%d", intensity.val1);
		ostentus_slide_set(o_dev, SLIDE_INTENSITY, json_buf, strlen(json_buf));
	));

	struct light_settings ls;
	get_light_settings(&ls);

	uint8_t desired_state;
	if (ls.ctrl_auto) {
		desired_state = (intensity.val1 < ls.thresh) ? RELAY_ON : RELAY_OFF;

		if (desired_state != _light_cur_state) {
			set_light_on_off(desired_state);
		}
	}

	struct temp_settings ts;
	get_temp_settings(&ts);

	if (ts.ctrl_auto) {
		desired_state = (temp_threshold_triggered(&tem, &ts.tem)) ? RELAY_ON : RELAY_OFF;
		if (desired_state != _vent_cur_state) {
			set_vent_on_off(desired_state);
		}
	}
}

void app_sensors_set_client(struct golioth_client *sensors_client)
{
	client = sensors_client;
}

int manual_light_on_off(uint8_t state)
{ struct light_settings ls;
	get_light_settings(&ls);

	if (ls.ctrl_auto) {
		return -EBUSY;
	}

	set_light_on_off(state);

	return 0;
}

int manual_vent_on_off(uint8_t state)
{
	struct temp_settings ts;
	get_temp_settings(&ts);

	if (ts.ctrl_auto) {
		return -EBUSY;
	}

	set_vent_on_off(state);

	return 0;
}

void get_relay_state(struct relay_state *r_state)
{
	r_state->light = _light_cur_state;
	r_state->vent = _vent_cur_state;

	return;
}

void app_sensors_init(void)
{
	int err;

	/* Initialize relays */
	err = gpio_pin_configure_dt(&relay_light, GPIO_OUTPUT_INACTIVE);
	if (err < 0) {
		LOG_ERR("Unable to configure relay_light");
	}

	err = gpio_pin_configure_dt(&relay_vent, GPIO_OUTPUT_INACTIVE);
	if (err < 0) {
		LOG_ERR("Unable to configure relay_vent");
	}

	IF_ENABLED(CONFIG_LIB_OSTENTUS, (
		char *relay_state;
		/* these will be ignored if slides haven't already been added */
		relay_state = _light_cur_state ? RELAY_STR_ON : RELAY_STR_OFF;
		ostentus_slide_set(o_dev, SLIDE_GROWLIGHT, relay_state, strlen(relay_state));

		relay_state = _vent_cur_state ? RELAY_STR_ON : RELAY_STR_OFF;
		ostentus_slide_set(o_dev, SLIDE_VENT, relay_state, strlen(relay_state));
	));
}
```

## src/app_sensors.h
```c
/*
 * Copyright (c) 2022-2024 Golioth, Inc.
 *
 * SPDX-License-Identifier: Apache-2.0
 */

#ifndef __APP_SENSORS_H__
#define __APP_SENSORS_H__

/** The `app_sensors.c` file performs the important work of this application
 * which is to read sensor values and report them to the Golioth LightDB Stream
 * as time-series data.
 * https://docs.golioth.io/firmware/zephyr-device-sdk/light-db-stream/
 */

#include <stdint.h>
#include <golioth/client.h>


struct relay_state {
	int8_t light;
	int8_t vent;
};

void app_sensors_set_client(struct golioth_client *sensors_client);
void app_sensors_read_and_stream(void);
void app_sensors_init(void);
int manual_light_on_off(uint8_t state);
int manual_vent_on_off(uint8_t state);
void get_relay_state(struct relay_state *r_state);

#define RELAY_STR_ON "On"
#define RELAY_STR_OFF "Off"

#define LABEL_TEMP	 "Temperature"
#define LABEL_INTENSITY	 "Intensity"
#define LABEL_VENT	 "Ventilation"
#define LABEL_GROWLIGHT	 "Grow Light"
#define LABEL_BATTERY	 "Battery"
#define LABEL_FIRMWARE	 "Firmware"
#define SUMMARY_TITLE	 "Greenhouse:"

/**
 * Each Ostentus slide needs a unique key. You may add additional slides by
 * inserting elements with the name of your choice to this enum.
 */
typedef enum {
	SLIDE_TEMP,
	SLIDE_INTENSITY,
	SLIDE_VENT,
	SLIDE_GROWLIGHT,
#ifdef CONFIG_ALUDEL_BATTERY_MONITOR
	BATTERY_V,
	BATTERY_PCT,
#endif
	FIRMWARE
} slide_key;

#endif /* __APP_SENSORS_H__ */
```

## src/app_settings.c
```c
/*
 * Copyright (c) 2022-2024 Golioth, Inc.
 *
 * SPDX-License-Identifier: Apache-2.0
 */

#include <zephyr/logging/log.h>
LOG_MODULE_REGISTER(app_settings, LOG_LEVEL_DBG);

#include <golioth/client.h>
#include <golioth/settings.h>
#include <zephyr/drivers/sensor.h>
#include "app_settings.h"
#include "main.h"

#define LOOP_DELAY_S_MAX 43200
#define LOOP_DELAY_S_MIN 1
#define LIGHT_THRESH_MAX 1000000
#define LIGHT_THRESH_MIN 0

static struct sensor_value _temp_thresh_sensorval = {0, 0};
static int32_t _loop_delay_s = 60;
static bool _light_auto = false;
static bool _temp_auto = false;
static int64_t _light_thresh = 0;
static float _temp_thresh = 0;

int32_t get_loop_delay_s(void)
{
	return _loop_delay_s;
}

void get_light_settings(struct light_settings *ls)
{
	ls->ctrl_auto = _light_auto;
	ls->thresh = _light_thresh;
}

void get_temp_settings(struct temp_settings *ts)
{
	ts->ctrl_auto = _temp_auto;
	ts->tem.val1 = _temp_thresh_sensorval.val1;
	ts->tem.val2 = _temp_thresh_sensorval.val2;
}

static enum golioth_settings_status on_loop_delay_setting(int32_t new_value, void *arg)
{
	/* Only update if value has changed */
	if (_loop_delay_s == new_value) {
		LOG_DBG("LOOP_DELAY_S already matches local value.");
		return GOLIOTH_SETTINGS_SUCCESS;
	}

	_loop_delay_s = new_value;
	LOG_INF("Set loop delay to %i seconds", new_value);
	wake_system_thread();
	return GOLIOTH_SETTINGS_SUCCESS;
}

static enum golioth_settings_status on_light_auto_setting(bool new_value, void *arg)
{
	/* Only update if value has changed */
	if (_light_auto == new_value) {
		LOG_DBG("LIGHT_AUTO already matches local value.");
		return GOLIOTH_SETTINGS_SUCCESS;
	}

	_light_auto = new_value;
	LOG_INF("Set LIGHT_AUTO to %s", new_value ? "true" : "false");
	wake_system_thread();
	return GOLIOTH_SETTINGS_SUCCESS;
}

static enum golioth_settings_status on_temp_auto_setting(bool new_value, void *arg)
{
	/* Only update if value has changed */
	if (_temp_auto == new_value) {
		LOG_DBG("TEMP_AUTO already matches local value.");
		return GOLIOTH_SETTINGS_SUCCESS;
	}

	_temp_auto = new_value;
	LOG_INF("Set TEMP_AUTO to %s", new_value ? "true" : "false");
	wake_system_thread();
	return GOLIOTH_SETTINGS_SUCCESS;
}

static enum golioth_settings_status on_light_thresh_setting(int32_t new_value, void *arg)
{
	/* Only update if value has changed */
	if (_light_thresh == new_value) {
		LOG_DBG("LIGHT_THRESH already matches local value.");
		return GOLIOTH_SETTINGS_SUCCESS;
	}

	_light_thresh = new_value;
	LOG_INF("Set light threshold to %i seconds", new_value);
	wake_system_thread();
	return GOLIOTH_SETTINGS_SUCCESS;
}

static enum golioth_settings_status on_temp_thresh_setting(float new_value, void *arg)
{
	/* Only update if value has changed */
	if (_temp_thresh == new_value) {
		LOG_DBG("TEMP_THRESH already matches local value.");
		return GOLIOTH_SETTINGS_SUCCESS;
	}

	_temp_thresh = new_value;

	int32_t temp_conversion = (int32_t)(_temp_thresh * 100);
	_temp_thresh_sensorval.val1 = temp_conversion / 100;
	_temp_thresh_sensorval.val2 = (temp_conversion % 100) * 10000;

	LOG_INF("Set _temp_thresh_sensorval to: %d.%d",
		_temp_thresh_sensorval.val1, _temp_thresh_sensorval.val2);
	wake_system_thread();
	return GOLIOTH_SETTINGS_SUCCESS;
}

void app_settings_register(struct golioth_client *client)
{
	int err;
	struct golioth_settings *settings = golioth_settings_init(client);

	err = golioth_settings_register_int_with_range(settings,
							   "LOOP_DELAY_S",
							   LOOP_DELAY_S_MIN,
							   LOOP_DELAY_S_MAX,
							   on_loop_delay_setting,
							   NULL);

	if (err) {
		LOG_ERR("Failed to register loop settings callback: %d", err);
	}

	err = golioth_settings_register_bool(settings,
						 "LIGHT_AUTO",
						 on_light_auto_setting,
						 NULL);

	if (err) {
		LOG_ERR("Failed to register light auto settings callback: %d", err);
	}

	err = golioth_settings_register_bool(settings,
						 "TEMP_AUTO",
						 on_temp_auto_setting,
						 NULL);

	if (err) {
		LOG_ERR("Failed to register vent auto settings callback: %d", err);
	}

	err = golioth_settings_register_int_with_range(settings,
						       "LIGHT_THRESH",
						       LIGHT_THRESH_MIN,
						       LIGHT_THRESH_MAX,
						       on_light_thresh_setting,
						       NULL);

	if (err) {
		LOG_ERR("Failed to register light threshold settings callback: %d", err);
	}

	err = golioth_settings_register_float(settings,
					      "TEMP_THRESH",
					      on_temp_thresh_setting,
					      NULL);

	if (err) {
		LOG_ERR("Failed to register temp threshold settings callback: %d", err);
	}
}
```

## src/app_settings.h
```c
/*
 * Copyright (c) 2022-2024 Golioth, Inc.
 *
 * SPDX-License-Identifier: Apache-2.0
 */

/**
 * Process changes received from the Golioth Settings Service and return a code
 * to Golioth to indicate the success or failure of the update.
 *
 * In this demonstration, the device looks for the `LOOP_DELAY_S` key from the
 * Settings Service and uses this value to determine the delay between sensor
 * reads (the period of sleep in the loop of `main.c`.
 *
 * https://docs.golioth.io/firmware/zephyr-device-sdk/device-settings-service
 */

#ifndef __APP_SETTINGS_H__
#define __APP_SETTINGS_H__

#include <stdint.h>
#include <golioth/client.h>
#include <zephyr/drivers/sensor.h>

struct light_settings {
	bool ctrl_auto;
	int64_t thresh;
};

struct temp_settings {
	bool ctrl_auto;
	struct sensor_value tem;
};

int32_t get_loop_delay_s(void);
void app_settings_register(struct golioth_client *client);

void get_light_settings(struct light_settings *ls);
void get_temp_settings(struct temp_settings *ts);

#endif /* __APP_SETTINGS_H__ */
```

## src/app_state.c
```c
/*
 * Copyright (c) 2022-2024 Golioth, Inc.
 *
 * SPDX-License-Identifier: Apache-2.0
 */

#include <zephyr/logging/log.h>
LOG_MODULE_REGISTER(app_state, LOG_LEVEL_DBG);

#include <golioth/client.h>
#include <golioth/lightdb_state.h>
#include <zephyr/data/json.h>
#include <zephyr/kernel.h>
#include "json_helper.h"

#include "app_state.h"
#include "app_sensors.h"

#define DEVICE_STATE_FMT "{\"light\":%d,\"vent\":%d}"

static struct golioth_client *client;

static void async_handler(struct golioth_client *client,
			  enum golioth_status status,
			  const struct golioth_coap_rsp_code *coap_rsp_code,
			  const char *path,
			  void *arg)
{
	if (status != GOLIOTH_OK) {
		LOG_WRN("Failed to set state: %d", status);
		return;
	}

	LOG_DBG("State successfully set");
}

int app_state_reset_desired(void)
{
	LOG_INF("Resetting \"%s\" LightDB State endpoint to defaults.", APP_STATE_DESIRED_ENDP);

	char sbuf[sizeof(DEVICE_STATE_FMT) + 4]; /* space for two "-1" values */

	snprintk(sbuf, sizeof(sbuf), DEVICE_STATE_FMT, -1, -1);

	int err;
	err = golioth_lightdb_set_async(client,
					APP_STATE_DESIRED_ENDP,
					GOLIOTH_CONTENT_TYPE_JSON,
					sbuf,
					strlen(sbuf),
					async_handler,
					NULL);
	if (err) {
		LOG_ERR("Unable to write to LightDB State: %d", err);
	}

	return err;
}

int app_state_update_actual(void)
{
	struct relay_state r_state;
	get_relay_state(&r_state);

	char sbuf[sizeof(DEVICE_STATE_FMT) + 10]; /* space for uint16 values */

	snprintk(sbuf, sizeof(sbuf), DEVICE_STATE_FMT, r_state.light, r_state.vent);

	int err;

	err = golioth_lightdb_set_async(client,
					APP_STATE_ACTUAL_ENDP,
					GOLIOTH_CONTENT_TYPE_JSON,
					sbuf,
					strlen(sbuf),
					async_handler,
					NULL);

	if (err) {
		LOG_ERR("Unable to write to LightDB State: %d", err);
	}

	return err;
}

static void app_state_desired_handler(struct golioth_client *client, enum golioth_status status,
				      const struct golioth_coap_rsp_code *coap_rsp_code,
				      const char *path, const uint8_t *payload, size_t payload_size,
				      void *arg)
{
	int err = 0;
	int ret = 0;

	if (status != GOLIOTH_OK) {
		LOG_ERR("Failed to receive '%s' endpoint: %d", APP_STATE_DESIRED_ENDP, status);
		return;
	}

	LOG_HEXDUMP_DBG(payload, payload_size, APP_STATE_DESIRED_ENDP);

	struct greenhouse_state parsed_state;

	ret = json_obj_parse((char *)payload, payload_size, greenhouse_state_descr,
			     ARRAY_SIZE(greenhouse_state_descr), &parsed_state);

	if (ret < 0) {
		LOG_ERR("Error parsing desired values: %d", ret);
		app_state_reset_desired();
		return;
	}

	uint8_t desired_processed_count = 0;
	uint8_t state_change_count = 0;

	if (ret & 1<<0) {
		/* Process  relay_state light */
		if ((parsed_state.light >= 0) && (parsed_state.light < 2)) {
			LOG_DBG("Validated desired Light setting: %d", parsed_state.light);

			err = manual_light_on_off(parsed_state.light);
			if (err == -EBUSY) {
				LOG_ERR("Manual input ignored while Light set to auto");
			} else if (err) {
				LOG_ERR("Error changing state of Light: %d", err);
			}

			++desired_processed_count;
			++state_change_count;

		} else if (parsed_state.light == -1) {
			LOG_DBG("No change requested for Light");
		} else {
			LOG_ERR("Invalid desired Light value: %d", parsed_state.light);
			++desired_processed_count;
		}
	}

	if (ret & 1<<1) {
		/* Process  relay_state vent */
		if ((parsed_state.vent >= 0) && (parsed_state.vent < 2)) {
			LOG_DBG("Validated desired Vent setting: %d", parsed_state.vent);

			err = manual_vent_on_off(parsed_state.vent);
			if (err == -EBUSY) {
				LOG_ERR("Manual input ignored while Vent set to auto");
			} else if (err) {
				LOG_ERR("Error changing state of Vent: %d", err);
			}

			++desired_processed_count;
			++state_change_count;

		} else if (parsed_state.vent == -1) {
			LOG_DBG("No change requested for Vent");
		} else {
			LOG_ERR("Invalid desired Vent value: %d", parsed_state.vent);
			++desired_processed_count;
		}
	}

	if (state_change_count) {
		/* The state was changed, so update the state on the Golioth servers */
		err = app_state_update_actual();
	}
	if (desired_processed_count) {
		/* We processed some desired changes to return these to -1 on the server
		 * to indicate the desired values were received.
		 */
		err = app_state_reset_desired();
	}

	if (err) {
		LOG_ERR("Failed to update cloud state: %d", err);
	}
}

int app_state_observe(struct golioth_client *state_client)
{
	int err;

	client = state_client;

	err = golioth_lightdb_observe_async(client,
					    APP_STATE_DESIRED_ENDP,
					    GOLIOTH_CONTENT_TYPE_JSON,
					    app_state_desired_handler,
					    NULL);
	if (err) {
		LOG_WRN("failed to observe lightdb path: %d", err);
		return err;
	}

	/* This will only run once. It updates the actual state of the device
	 * with the Golioth servers. Future updates will be sent whenever
	 * changes occur.
	 */
	err = app_state_update_actual();

	return err;
}
```

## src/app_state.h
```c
/*
 * Copyright (c) 2022-2024 Golioth, Inc.
 *
 * SPDX-License-Identifier: Apache-2.0
 */

/** Observe and write to example endpoints for stateful data on the Golioth
 * LightDB State Service.
 *
 * This demonstration exhibits (the concept of Digital
 * Twin)[https://blog.golioth.io/better-iot-design-patterns-desired-state-vs-actual-state/].
 * It implements a _desired_ state which the cloud can set to request the device
 * change its state, and an _actual_ state where the device reports its state.
 *
 * After receiving and processing a desired state, the device will reset the
 * desired state (`APP_STATE_DESIRED_ENDP`) to `-1` indicating the data has been
 * processed, and update the actual state (`APP_STATE_ACTUAL_ENDP`) to report
 * the new state of the device.
 *
 * The device should write to the _actual state_ endpoint, the cloud should not.
 * By convention the cloud should consider the _actual state_ values read-only.
 *
 * https://docs.golioth.io/firmware/zephyr-device-sdk/light-db/
 */

#ifndef __APP_STATE_H__
#define __APP_STATE_H__

#include <golioth/client.h>

#define APP_STATE_DESIRED_ENDP "desired"
#define APP_STATE_ACTUAL_ENDP  "state"

int app_state_observe(struct golioth_client *state_client);
int app_state_update_actual(void);

#endif /* __APP_STATE_H__ */
```

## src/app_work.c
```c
/*
 * Copyright (c) 2022-2024 Golioth, Inc.
 *
 * SPDX-License-Identifier: Apache-2.0
 */

#include <zephyr/logging/log.h>
LOG_MODULE_REGISTER(app_work, LOG_LEVEL_DBG);

#include <net/golioth/settings.h>
#include <net/golioth/system_client.h>
#include <zephyr/drivers/gpio.h>
#include <zephyr/drivers/sensor.h>
#include "app_settings.h"
#include "app_state.h"
#include "app_work.h"

#ifdef CONFIG_ALUDEL_BATTERY_MONITOR
#include "battery_monitor/battery.h"
#endif


static struct golioth_client *client;

const struct device *light_sensor = DEVICE_DT_GET(DT_NODELABEL(apds9960));
const struct device *weather_sensor = DEVICE_DT_GET(DT_NODELABEL(bme280));

const struct gpio_dt_spec relay_light = GPIO_DT_SPEC_GET(DT_NODELABEL(relay_0), gpios);
const struct gpio_dt_spec relay_vent = GPIO_DT_SPEC_GET(DT_NODELABEL(relay_1), gpios);

#define SENSOR_JSON_FMT	"{\"light\":{\"int\":%d,\"r\":%d,\"g\":%d,\"b\":%d},\"weather\":{\"temp\":%d.%d,\"pressure\":%d.%d,\"humidity\":%d.%d}}"

#define RELAY_ON  1
#define RELAY_OFF 0

uint8_t _light_cur_state = 0;
uint8_t _vent_cur_state = 0;

static void set_light_on_off(uint8_t state)
{
	if (state > 1) {
		LOG_ERR("Light state out of range [0..1]: %d", state);
		return;
	}

	_light_cur_state = state;
	gpio_pin_set_dt(&relay_light, _light_cur_state);
	app_state_update_actual();
}

static void set_vent_on_off(uint8_t state)
{
	if (state > 1) {
		LOG_ERR("Vent state out of range [0..1]: %d", state);
		return;
	}

	_vent_cur_state = state;
	gpio_pin_set_dt(&relay_vent, _vent_cur_state);
	app_state_update_actual();
}


static int async_error_handler(struct golioth_req_rsp *rsp)
{
	if (rsp->err) {
		LOG_ERR("Async task failed: %d", rsp->err);
		return rsp->err;
	}

	return 0;
}

static bool temp_threshold_triggered(struct sensor_value *tem_sensor,
				     struct sensor_value *thresh)
{
	bool ret = false;

	if ((tem_sensor->val1 > thresh->val1) || ((tem_sensor->val1 == thresh->val1) && (tem_sensor->val2 > thresh->val2))) {
		ret = true;
	}

	return ret;
}

/* This will be called by the main() loop */
/* Do all of your work here! */
void app_work_sensor_read(void)
{

	struct sensor_value intensity, red, green, blue, tem, pre, hum;
	int err = 0;
	char json_buf[256];

	IF_ENABLED(CONFIG_ALUDEL_BATTERY_MONITOR, (
		read_and_report_battery();
	));

	/* Read all sensors */
	err = sensor_sample_fetch(light_sensor);
	if (err) {
		LOG_ERR("Light sensor fetch failed: %d", err);
	}

	sensor_channel_get(light_sensor, SENSOR_CHAN_LIGHT, &intensity);
	sensor_channel_get(light_sensor, SENSOR_CHAN_RED, &red);
	sensor_channel_get(light_sensor, SENSOR_CHAN_GREEN, &green);
	sensor_channel_get(light_sensor, SENSOR_CHAN_BLUE, &blue);
	LOG_INF("Light: %d; r=%d, g=%d, b=%d",
		intensity.val1, red.val1, green.val1, blue.val1);

	err = sensor_sample_fetch(weather_sensor);
	if (err) {
		LOG_ERR("Weather sensor fetch failed: %d", err);
	}

	sensor_channel_get(weather_sensor, SENSOR_CHAN_AMBIENT_TEMP, &tem);
	sensor_channel_get(weather_sensor, SENSOR_CHAN_PRESS, &pre);
	sensor_channel_get(weather_sensor, SENSOR_CHAN_HUMIDITY, &hum);
	LOG_INF("Weather: tem=%d.%d, pre=%d.%d, hum=%d.%d",
		tem.val1, tem.val2, pre.val1, pre.val2, hum.val1, hum.val2);

	/* Send sensor data to Golioth */
	snprintk(json_buf, sizeof(json_buf), SENSOR_JSON_FMT, intensity.val1,
		 red.val1, green.val1, blue.val1, tem.val1, tem.val2,
		 pre.val1, pre.val2, hum.val1, hum.val2);

	err = golioth_stream_push_cb(client, "sensor", GOLIOTH_CONTENT_FORMAT_APP_JSON,
				     json_buf, strlen(json_buf), async_error_handler, NULL);

	if (err) LOG_ERR("Failed to send sensor data to Golioth: %d", err);

	struct light_settings ls;
	get_light_settings(&ls);

	uint8_t desired_state;
	if (ls.ctrl_auto) {
		desired_state = (intensity.val1 < ls.thresh) ? RELAY_ON : RELAY_OFF;

		if (desired_state != _light_cur_state) {
			set_light_on_off(desired_state);
		}
	}

	struct temp_settings ts;
	get_temp_settings(&ts);

	if (ts.ctrl_auto) {
		desired_state = (temp_threshold_triggered(&tem, &ts.tem)) ? RELAY_ON : RELAY_OFF;
		if (desired_state != _vent_cur_state) {
			set_vent_on_off(desired_state);
		}
	}
}

int manual_light_on_off(uint8_t state)
{
	struct light_settings ls;
	get_light_settings(&ls);

	if (ls.ctrl_auto) {
		return -EBUSY;
	}

	set_light_on_off(state);

	return 0;
}

int manual_vent_on_off(uint8_t state)
{
	struct temp_settings ts;
	get_temp_settings(&ts);

	if (ts.ctrl_auto) {
		return -EBUSY;
	}

	set_vent_on_off(state);

	return 0;
}

void get_relay_state(struct relay_state *r_state)
{
	r_state->light = _light_cur_state;
	r_state->vent = _vent_cur_state;

	return;
}

void app_work_init(struct golioth_client* work_client)
{
	int err;

	client = work_client;

	/* Initialize relays */
	err = gpio_pin_configure_dt(&relay_light, GPIO_OUTPUT_INACTIVE);
	if (err < 0) {
		LOG_ERR("Unable to configure relay_light");
	}

	err = gpio_pin_configure_dt(&relay_vent, GPIO_OUTPUT_INACTIVE);
	if (err < 0) {
		LOG_ERR("Unable to configure relay_vent");
	}
}
```

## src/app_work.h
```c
/*
 * Copyright (c) 2022-2024 Golioth, Inc.
 *
 * SPDX-License-Identifier: Apache-2.0
 */

/** The `app_work.c` file performs the important work of this application which
 * is to read sensor values and report them to the Golioth LightDB Stream as
 * time-series data.
 *
 * https://docs.golioth.io/firmware/zephyr-device-sdk/light-db-stream/
 */

#ifndef __APP_WORK_H__
#define __APP_WORK_H__

#include <stdint.h>
#include <net/golioth/system_client.h>


struct relay_state {
	int8_t light;
	int8_t vent;
};

void app_work_init(struct golioth_client *work_client);
void app_work_sensor_read(void);
int manual_light_on_off(uint8_t state);
int manual_vent_on_off(uint8_t state);
void get_relay_state(struct relay_state *r_state);

#endif /* __APP_WORK_H__ */
```
